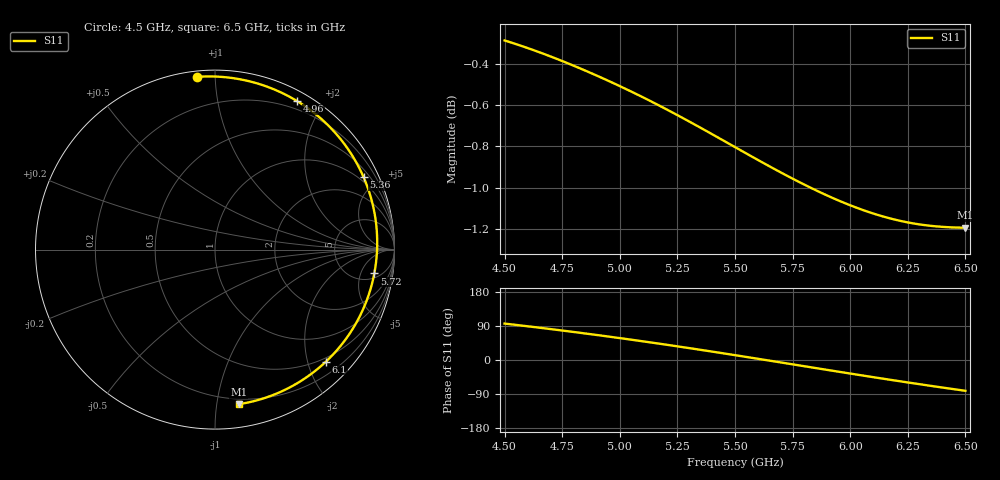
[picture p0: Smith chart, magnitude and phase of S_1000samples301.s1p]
! TOUCHSTONE file generated by CST MICROWAVE STUDIO
! Date and time: Thu Oct 27 16:51:52 2022
! Project name: L.cst
! Parameters = {Di=1.27; Epsilon_r=1.56; InnerDiameter=1.27; Length=2; Lf=10; Lg=60; OuterConductorThickness=0.2921; OuterDiameter=3.6; Wf=3; Wp=41.2; de=1.5; df=6.8; g=0.8; gx=4.30106; gy=3.5254; h=2.34; hf=1.524; px=8.96176; py=8.63195; w=9.7; wx=4.6607; wy=5.10655}
! Header version: 2018
! Port assignment regex: !\s*Touchstone port\s*([0-9]+)\s*=\s*(CST MWS port|CST DS port)\s*([0-9]+|Zmin|Zmax)\s*\(\"(.*)\"\)(\s*mode\s*([0-9]+))?.*
! Touchstone port assignment:
! Touchstone port 1 = CST MWS port 1 ("")
# GHz S DB R 50
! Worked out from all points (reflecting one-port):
!   101 points, 4.5 GHz to 6.5 GHz, reference 50 ohm
!   lowest |S11| = -1.2 dB at 6.5 GHz (marker M1), VSWR 14.56, Z = 8.05 - j57.6 ohm
!   phase of S11 starts at 96 deg and turns -177 deg over the sweep
!   S11 on the Smith chart (normalised r, x): 4.5 GHz: 0.03, +0.90; 4.96 GHz: 0.11, +1.69; 5.36 GHz: 0.79, +4.20; 5.72 GHz: 6, -9; 6.1 GHz: 0.43, -2.33; 6.5 GHz: 0.16, -1.15
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4.5  -0.28 96.1
4.58  -0.31 90.4
4.64  -0.34 86.0
4.76  -0.39 77.0
4.86  -0.44 69.2
4.96  -0.49 61.1
5  -0.51 57.8
5.12  -0.57 47.6
5.18  -0.61 42.3
5.26  -0.65 35.1
5.36  -0.72 26.0
5.44  -0.77 18.5
5.5  -0.80 12.8
5.56  -0.84 7.0
5.62  -0.88 1.2
5.72  -0.94 -8.5
5.76  -0.96 -12.4
5.82  -1.00 -18.3
5.88  -1.03 -24.1
5.94  -1.06 -30.0
6  -1.09 -35.8
6.1  -1.13 -45.3
6.18  -1.15 -52.8
6.26  -1.17 -60.1
6.32  -1.18 -65.6
6.38  -1.19 -70.9
6.44  -1.19 -76.1
6.5  -1.20 -81.3
